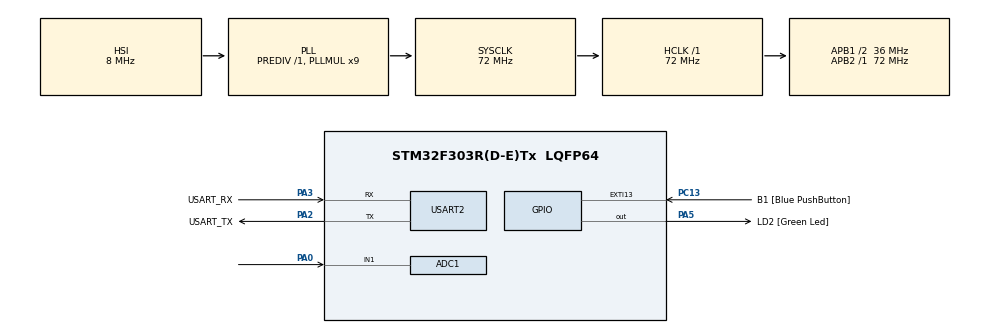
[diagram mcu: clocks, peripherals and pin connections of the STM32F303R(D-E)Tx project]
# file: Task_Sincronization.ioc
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ADC1.Channel-0\#ChannelRegularConversion=ADC_CHANNEL_1
ADC1.ContinuousConvMode=ENABLE
ADC1.NbrOfConversionFlag=1
ADC1.Offset-0\#ChannelRegularConversion=0
ADC1.OffsetNumber-0\#ChannelRegularConversion=ADC_OFFSET_NONE
ADC1.Rank-0\#ChannelRegularConversion=1
ADC1.SamplingTime-0\#ChannelRegularConversion=ADC_SAMPLETIME_1CYCLE_5
ADC1.master=1
FREERTOS.BinarySemaphores01=newDataAvailableSemaphore,Dynamic,NULL
FREERTOS.Mutexes01=Mymutex,Dynamic,NULL
FREERTOS.Queues01=myQueue,10,message_t,0,Dynamic,NULL,NULL
FREERTOS.Tasks01=Mytask1,24,256,StartMytask1,As weak,NULL,Dynamic,NULL,NULL;Mytask2,24,256,StartMytask2,Default,NULL,Dynamic,NULL,NULL;Mytask3,24,256,StartMytask3,As weak,NULL,Dynamic,NULL,NULL;Mytask4,24,256,StartMytask4,As weak,NULL,Dynamic,NULL,NULL
FREERTOS.configTOTAL_HEAP_SIZE=6000
Mcu.Family=STM32F3
Mcu.Name=STM32F303R(D-E)Tx
Mcu.Package=LQFP64
NVIC.EXTI15_10_IRQn=true\:5\:0\:false\:false\:true\:true\:true\:true
NVIC.PriorityGroup=NVIC_PRIORITYGROUP_4
PA0.Mode=IN1-Single-Ended
PA0.Signal=ADC1_IN1
PA13.GPIO_Label=TMS
PA13.Mode=Serial_Wire
PA13.Signal=SYS_JTMS-SWDIO
PA14.GPIO_Label=TCK
PA14.Mode=Serial_Wire
PA14.Signal=SYS_JTCK-SWCLK
PA2.GPIO_Label=USART_TX
PA2.GPIO_Mode=GPIO_MODE_AF_PP
PA2.GPIO_PuPd=GPIO_NOPULL
PA2.GPIO_Speed=GPIO_SPEED_FREQ_LOW
PA2.Mode=Asynchronous
PA2.Signal=USART2_TX
PA3.GPIO_Label=USART_RX
PA3.GPIO_Mode=GPIO_MODE_AF_PP
PA3.GPIO_PuPd=GPIO_NOPULL
PA3.GPIO_Speed=GPIO_SPEED_FREQ_LOW
PA3.Mode=Asynchronous
PA3.Signal=USART2_RX
PA5.GPIO_Label=LD2 [Green Led]
PA5.GPIO_Mode=GPIO_MODE_OUTPUT_PP
PA5.GPIO_PuPd=GPIO_NOPULL
PA5.GPIO_Speed=GPIO_SPEED_FREQ_LOW
PA5.Signal=GPIO_Output
PB3.GPIO_Label=SWO
PB3.Signal=SYS_JTDO-TRACESWO
PC13.GPIO_Label=B1 [Blue PushButton]
PC13.GPIO_ModeDefaultEXTI=GPIO_MODE_IT_FALLING
PC13.Signal=GPXTI13
PC14-OSC32_IN.Mode=LSE-External-Oscillator
PC14-OSC32_IN.Signal=RCC_OSC32_IN
PC15-OSC32_OUT.Mode=LSE-External-Oscillator
PC15-OSC32_OUT.Signal=RCC_OSC32_OUT
PF0-OSC_IN.Mode=HSE-External-Clock-Source
PF0-OSC_IN.Signal=RCC_OSC_IN
PF1-OSC_OUT.Signal=RCC_OSC_OUT
ProjectManager.HeapSize=0x200
ProjectManager.StackSize=0x400
ProjectManager.TargetToolchain=STM32CubeIDE
RCC.AHBFreq_Value=72000000
RCC.APB1CLKDivider=RCC_HCLK_DIV2
RCC.APB1Freq_Value=36000000
RCC.APB1TimFreq_Value=72000000
RCC.APB2Freq_Value=72000000
RCC.APB2TimFreq_Value=72000000
RCC.CortexFreq_Value=72000000
RCC.HCLKFreq_Value=72000000
RCC.HSE_VALUE=8000000
RCC.HSI_VALUE=8000000
RCC.PLLM=8
RCC.PLLMUL=RCC_PLL_MUL9
RCC.PLLN=336
RCC.PLLP=RCC_PLLP_DIV4
RCC.PLLQ=7
RCC.RCC_PLLsource_Clock_Source_FROM_HSE=RCC_HSE_PREDIV_DIV2
RCC.SYSCLKFreq_VALUE=72000000
RCC.SYSCLKSourceVirtual=RCC_SYSCLKSOURCE_PLLCLK
RCC.USBFreq_Value=72000000
USART2.VirtualMode-Asynchronous=VM_ASYNC
VP_FREERTOS_VS_CMSIS_V2.Mode=CMSIS_V2
board=NUCLEO-F303RE

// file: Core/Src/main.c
/* USER CODE BEGIN Header */
/**
  ******************************************************************************
  * @file           : main.c
  * @brief          : Main program body
  ******************************************************************************
  * @attention
  *
  * Copyright (c) 2024 STMicroelectronics.
  * All rights reserved.
  *
  * This software is licensed under terms that can be found in the LICENSE file
  * in the root directory of this software component.
  * If no LICENSE file comes with this software, it is provided AS-IS.
  *
  ******************************************************************************
  */
/* USER CODE END Header */
#include "main.h"
#include "cmsis_os.h"

/* USER CODE BEGIN Includes */
#include <string.h>
#include <stdlib.h>
#include <stdio.h>
#include "task1.h"
#include <stdbool.h>
/* USER CODE END Includes */

ADC_HandleTypeDef hadc1;

UART_HandleTypeDef huart2;

/* Definitions for Mytask1 */
osThreadId_t Mytask1Handle;
const osThreadAttr_t Mytask1_attributes = {
  .name = "Mytask1",
  .stack_size = 256 * 4,
  .priority = (osPriority_t) osPriorityNormal,
};
/* Definitions for Mytask2 */
osThreadId_t Mytask2Handle;
const osThreadAttr_t Mytask2_attributes = {
  .name = "Mytask2",
  .stack_size = 256 * 4,
  .priority = (osPriority_t) osPriorityNormal,
};
/* Definitions for Mytask3 */
osThreadId_t Mytask3Handle;
const osThreadAttr_t Mytask3_attributes = {
  .name = "Mytask3",
  .stack_size = 256 * 4,
  .priority = (osPriority_t) osPriorityNormal,
};
/* Definitions for Mytask4 */
osThreadId_t Mytask4Handle;
const osThreadAttr_t Mytask4_attributes = {
  .name = "Mytask4",
  .stack_size = 256 * 4,
  .priority = (osPriority_t) osPriorityNormal,
};
/* Definitions for myQueue */
osMessageQueueId_t myQueueHandle;
const osMessageQueueAttr_t myQueue_attributes = {
  .name = "myQueue"
};
/* Definitions for Mymutex */
osMutexId_t MymutexHandle;
const osMutexAttr_t Mymutex_attributes = {
  .name = "Mymutex"
};
/* Definitions for newDataAvailableSemaphore */
osSemaphoreId_t newDataAvailableSemaphoreHandle;
const osSemaphoreAttr_t newDataAvailableSemaphore_attributes = {
  .name = "newDataAvailableSemaphore"
};

void SystemClock_Config(void);
static void MX_GPIO_Init(void);
static void MX_USART2_UART_Init(void);
static void MX_ADC1_Init(void);
void StartMytask1(void *argument);
void StartMytask2(void *argument);
void StartMytask3(void *argument);
void StartMytask4(void *argument);

/* USER CODE BEGIN PFP */
bool isMessageForTask2(message_t msg);
/* USER CODE END PFP */

/* USER CODE BEGIN 0 */
/*---------------------------- Getters and Setters ---------------------------*/
osSemaphoreId_t getNewDataSemaphore(void){
	return newDataAvailableSemaphoreHandle;
}
void releaseNewDataSemaphore(void){
	osSemaphoreRelease(newDataAvailableSemaphoreHandle);
}
osMutexId_t getMymutexHandle(void){
	return MymutexHandle;
}
void releaseMymutexHandle(void){
	osMutexRelease(MymutexHandle);
}
osMessageQueueId_t getmyQueueHandle(void){
	return myQueueHandle;
}
/*-----------------------------------------------------------------------------*/

/* USER CODE END 0 */

int main(void)
{

  /* MCU Configuration--------------------------------------------------------*/

  /* Reset of all peripherals, Initializes the Flash interface and the Systick. */
  HAL_Init();

  /* Configure the system clock */
  SystemClock_Config();

  /* Initialize all configured peripherals */
  MX_GPIO_Init();
  MX_USART2_UART_Init();
  MX_ADC1_Init();
  /* USER CODE BEGIN 2 */
  HAL_ADCEx_Calibration_Start(&hadc1, ADC_SINGLE_ENDED);
  HAL_ADC_Start(&hadc1);

  /* USER CODE END 2 */

  /* Init scheduler */
  osKernelInitialize();
  /* Create the mutex(es) */
  /* creation of Mymutex */
  MymutexHandle = osMutexNew(&Mymutex_attributes);

  /* Create the semaphores(s) */
  /* creation of newDataAvailableSemaphore */
  newDataAvailableSemaphoreHandle = osSemaphoreNew(1, 1, &newDataAvailableSemaphore_attributes);

  /* Create the queue(s) */
  /* creation of myQueue */
  myQueueHandle = osMessageQueueNew (10, sizeof(message_t), &myQueue_attributes);

  /* Create the thread(s) */
  /* creation of Mytask1 */
  Mytask1Handle = osThreadNew(StartMytask1, NULL, &Mytask1_attributes);

  /* creation of Mytask2 */
  Mytask2Handle = osThreadNew(StartMytask2, NULL, &Mytask2_attributes);

  /* creation of Mytask3 */
  Mytask3Handle = osThreadNew(StartMytask3, NULL, &Mytask3_attributes);

  /* creation of Mytask4 */
  Mytask4Handle = osThreadNew(StartMytask4, NULL, &Mytask4_attributes);

  /* Start scheduler */
  osKernelStart();

  /* We should never get here as control is now taken by the scheduler */
  /* Infinite loop */
  while (1)
  {

  }
}

void SystemClock_Config(void)
{
  RCC_OscInitTypeDef RCC_OscInitStruct = {0};
  RCC_ClkInitTypeDef RCC_ClkInitStruct = {0};
  RCC_PeriphCLKInitTypeDef PeriphClkInit = {0};

  /** Initializes the RCC Oscillators according to the specified parameters
  * in the RCC_OscInitTypeDef structure.
  */
  RCC_OscInitStruct.OscillatorType = RCC_OSCILLATORTYPE_HSI;
  RCC_OscInitStruct.HSIState = RCC_HSI_ON;
  RCC_OscInitStruct.HSICalibrationValue = RCC_HSICALIBRATION_DEFAULT;
  RCC_OscInitStruct.PLL.PLLState = RCC_PLL_ON;
  RCC_OscInitStruct.PLL.PLLSource = RCC_PLLSOURCE_HSI;
  RCC_OscInitStruct.PLL.PLLMUL = RCC_PLL_MUL9;
  RCC_OscInitStruct.PLL.PREDIV = RCC_PREDIV_DIV1;
  if (HAL_RCC_OscConfig(&RCC_OscInitStruct) != HAL_OK)
  {
    Error_Handler();
  }
  /** Initializes the CPU, AHB and APB buses clocks
  */
  RCC_ClkInitStruct.ClockType = RCC_CLOCKTYPE_HCLK|RCC_CLOCKTYPE_SYSCLK
                              |RCC_CLOCKTYPE_PCLK1|RCC_CLOCKTYPE_PCLK2;
  RCC_ClkInitStruct.SYSCLKSource = RCC_SYSCLKSOURCE_PLLCLK;
  RCC_ClkInitStruct.AHBCLKDivider = RCC_SYSCLK_DIV1;
  RCC_ClkInitStruct.APB1CLKDivider = RCC_HCLK_DIV2;
  RCC_ClkInitStruct.APB2CLKDivider = RCC_HCLK_DIV1;

  if (HAL_RCC_ClockConfig(&RCC_ClkInitStruct, FLASH_LATENCY_2) != HAL_OK)
  {
    Error_Handler();
  }
  PeriphClkInit.PeriphClockSelection = RCC_PERIPHCLK_USART2|RCC_PERIPHCLK_ADC12;
  PeriphClkInit.Usart2ClockSelection = RCC_USART2CLKSOURCE_PCLK1;
  PeriphClkInit.Adc12ClockSelection = RCC_ADC12PLLCLK_DIV1;
  if (HAL_RCCEx_PeriphCLKConfig(&PeriphClkInit) != HAL_OK)
  {
    Error_Handler();
  }
}

static void MX_ADC1_Init(void)
{

  ADC_MultiModeTypeDef multimode = {0};
  ADC_ChannelConfTypeDef sConfig = {0};

  /** Common config
  */
  hadc1.Instance = ADC1;
  hadc1.Init.ClockPrescaler = ADC_CLOCK_ASYNC_DIV1;
  hadc1.Init.Resolution = ADC_RESOLUTION_12B;
  hadc1.Init.ScanConvMode = ADC_SCAN_DISABLE;
  hadc1.Init.ContinuousConvMode = ENABLE;
  hadc1.Init.DiscontinuousConvMode = DISABLE;
  hadc1.Init.ExternalTrigConvEdge = ADC_EXTERNALTRIGCONVEDGE_NONE;
  hadc1.Init.ExternalTrigConv = ADC_SOFTWARE_START;
  hadc1.Init.DataAlign = ADC_DATAALIGN_RIGHT;
  hadc1.Init.NbrOfConversion = 1;
  hadc1.Init.DMAContinuousRequests = DISABLE;
  hadc1.Init.EOCSelection = ADC_EOC_SINGLE_CONV;
  hadc1.Init.LowPowerAutoWait = DISABLE;
  hadc1.Init.Overrun = ADC_OVR_DATA_OVERWRITTEN;
  if (HAL_ADC_Init(&hadc1) != HAL_OK)
  {
    Error_Handler();
  }
  /** Configure the ADC multi-mode
  */
  multimode.Mode = ADC_MODE_INDEPENDENT;
  if (HAL_ADCEx_MultiModeConfigChannel(&hadc1, &multimode) != HAL_OK)
  {
    Error_Handler();
  }
  /** Configure Regular Channel
  */
  sConfig.Channel = ADC_CHANNEL_1;
  sConfig.Rank = ADC_REGULAR_RANK_1;
  sConfig.SingleDiff = ADC_SINGLE_ENDED;
  sConfig.SamplingTime = ADC_SAMPLETIME_1CYCLE_5;
  sConfig.OffsetNumber = ADC_OFFSET_NONE;
  sConfig.Offset = 0;
  if (HAL_ADC_ConfigChannel(&hadc1, &sConfig) != HAL_OK)
  {
    Error_Handler();
  }

}

static void MX_USART2_UART_Init(void)
{

  huart2.Instance = USART2;
  huart2.Init.BaudRate = 38400;
  huart2.Init.WordLength = UART_WORDLENGTH_8B;
  huart2.Init.StopBits = UART_STOPBITS_1;
  huart2.Init.Parity = UART_PARITY_NONE;
  huart2.Init.Mode = UART_MODE_TX_RX;
  huart2.Init.HwFlowCtl = UART_HWCONTROL_NONE;
  huart2.Init.OverSampling = UART_OVERSAMPLING_16;
  huart2.Init.OneBitSampling = UART_ONE_BIT_SAMPLE_DISABLE;
  huart2.AdvancedInit.AdvFeatureInit = UART_ADVFEATURE_NO_INIT;
  if (HAL_UART_Init(&huart2) != HAL_OK)
  {
    Error_Handler();
  }

}

static void MX_GPIO_Init(void)
{
  GPIO_InitTypeDef GPIO_InitStruct = {0};

  /* GPIO Ports Clock Enable */
  __HAL_RCC_GPIOC_CLK_ENABLE();
  __HAL_RCC_GPIOF_CLK_ENABLE();
  __HAL_RCC_GPIOA_CLK_ENABLE();
  __HAL_RCC_GPIOB_CLK_ENABLE();

  /*Configure GPIO pin Output Level */
  HAL_GPIO_WritePin(LD2_GPIO_Port, LD2_Pin, GPIO_PIN_RESET);

  /*Configure GPIO pin : B1_Pin */
  GPIO_InitStruct.Pin = B1_Pin;
  GPIO_InitStruct.Mode = GPIO_MODE_IT_FALLING;
  GPIO_InitStruct.Pull = GPIO_NOPULL;
  HAL_GPIO_Init(B1_GPIO_Port, &GPIO_InitStruct);

  /*Configure GPIO pin : LD2_Pin */
  GPIO_InitStruct.Pin = LD2_Pin;
  GPIO_InitStruct.Mode = GPIO_MODE_OUTPUT_PP;
  GPIO_InitStruct.Pull = GPIO_NOPULL;
  GPIO_InitStruct.Speed = GPIO_SPEED_FREQ_LOW;
  HAL_GPIO_Init(LD2_GPIO_Port, &GPIO_InitStruct);

  /* EXTI interrupt init*/
  HAL_NVIC_SetPriority(EXTI15_10_IRQn, 5, 0);
  HAL_NVIC_EnableIRQ(EXTI15_10_IRQn);

}

/* USER CODE BEGIN 4 */
bool isMessageForTask2(message_t msg){
	return (msg.id.receiver & TASK2_ID);
}
/* USER CODE END 4 */

__weak void StartMytask1(void *argument)
{
  for(;;)
  {
  }
}

void StartMytask2(void *argument)
{
  /* USER CODE BEGIN StartMytask2 */
	static message_t received_message = {
			.id = {0},
			.size = 0,
			.data_ptr = NULL,
	};

	uint8_t local_string [100] = " ";

  /* Infinite loop */
  for(;;)
  {

  	osMessageQueueGet(myQueueHandle, &received_message, NULL , osWaitForever);

		// Assuring I'm getting the information from the correct sender
		if(isMessageForTask2(received_message)) {

			switch(received_message.id.sender){

				case TASK1_ID:
					// Wait till the uart access gets free
					osMutexAcquire(MymutexHandle, osWaitForever);

					snprintf((void *)local_string,sizeof(local_string), "%d - Sent from task %u - to task 2 \n\r", *((int *) received_message.data_ptr) , received_message.id.sender );
					HAL_UART_Transmit(&huart2, local_string, strlen((void *)local_string), 100);

					osMutexRelease(MymutexHandle);
					break;

				case TASK3_ID:

					// Wait till the uart access gets free
					osMutexAcquire(MymutexHandle, osWaitForever);

					memcpy(&local_string, received_message.data_ptr, received_message.size);
					HAL_UART_Transmit(&huart2, local_string, strlen((void *)local_string), 100);

					osMutexRelease(MymutexHandle);
					break;

				default:

					break;
			};

			memset(local_string , 0 , sizeof(local_string));

		// Wrong destination, reintroduce the message into the queue
		} else {
			osMessageQueuePut(myQueueHandle, &received_message, 0, 0);
		}

  }
  /* USER CODE END StartMytask2 */
}

__weak void StartMytask3(void *argument)
{
  for(;;)
  {
    osDelay(1);
  }
}

__weak void StartMytask4(void *argument)
{
  for(;;)
  {
    osDelay(1);
  }
}

void Error_Handler(void)
{
  __disable_irq();
  while (1)
  {
  }
}
